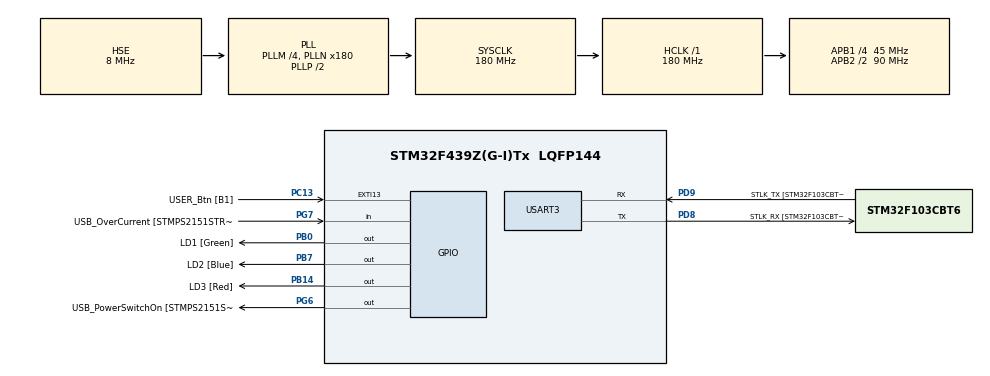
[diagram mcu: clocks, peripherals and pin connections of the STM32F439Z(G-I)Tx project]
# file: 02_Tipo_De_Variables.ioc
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Mcu.Family=STM32F4
Mcu.Name=STM32F439Z(G-I)Tx
Mcu.Package=LQFP144
NVIC.PriorityGroup=NVIC_PRIORITYGROUP_4
PA13.GPIO_Label=TMS
PA13.Mode=Serial_Wire
PA13.Signal=SYS_JTMS-SWDIO
PA14.GPIO_Label=TCK
PA14.Mode=Serial_Wire
PA14.Signal=SYS_JTCK-SWCLK
PB0.GPIO_Label=LD1 [Green]
PB0.Signal=GPIO_Output
PB14.GPIO_Label=LD3 [Red]
PB14.Signal=GPIO_Output
PB7.GPIO_Label=LD2 [Blue]
PB7.Signal=GPIO_Output
PC13.GPIO_Label=USER_Btn [B1]
PC13.Signal=GPXTI13
PC14/OSC32_IN.Mode=LSE-External-Oscillator
PC14/OSC32_IN.Signal=RCC_OSC32_IN
PC15/OSC32_OUT.Mode=LSE-External-Oscillator
PC15/OSC32_OUT.Signal=RCC_OSC32_OUT
PD8.GPIO_Label=STLK_RX [STM32F103CBT6_PA3]
PD8.Mode=Asynchronous
PD8.Signal=USART3_TX
PD9.GPIO_Label=STLK_TX [STM32F103CBT6_PA2]
PD9.Mode=Asynchronous
PD9.Signal=USART3_RX
PG6.GPIO_Label=USB_PowerSwitchOn [STMPS2151STR_EN]
PG6.Signal=GPIO_Output
PG7.GPIO_Label=USB_OverCurrent [STMPS2151STR_FAULT]
PG7.Signal=GPIO_Input
PH0/OSC_IN.GPIO_Label=MCO [STM32F103CBT6_PA8]
PH0/OSC_IN.Mode=HSE-External-Oscillator
PH0/OSC_IN.Signal=RCC_OSC_IN
PH1/OSC_OUT.Mode=HSE-External-Oscillator
PH1/OSC_OUT.Signal=RCC_OSC_OUT
ProjectManager.HeapSize=0x200
ProjectManager.StackSize=0x400
ProjectManager.TargetToolchain=STM32CubeIDE
RCC.48MHZClocksFreq_Value=51428571.428571425
RCC.AHBFreq_Value=180000000
RCC.APB1CLKDivider=RCC_HCLK_DIV4
RCC.APB1Freq_Value=45000000
RCC.APB1TimFreq_Value=90000000
RCC.APB2CLKDivider=RCC_HCLK_DIV2
RCC.APB2Freq_Value=90000000
RCC.APB2TimFreq_Value=180000000
RCC.CortexFreq_Value=180000000
RCC.HCLKFreq_Value=180000000
RCC.HSE_VALUE=8000000
RCC.HSI_VALUE=16000000
RCC.PLLM=4
RCC.PLLMUL=RCC_PLL_MUL9
RCC.PLLN=180
RCC.PLLQ=7
RCC.PLLSourceVirtual=RCC_PLLSOURCE_HSE
RCC.PRESCALERUSB=RCC_USBCLKSOURCE_PLL_DIV1_5
RCC.SYSCLKFreq_VALUE=180000000
RCC.SYSCLKSource=RCC_SYSCLKSOURCE_PLLCLK
RCC.SYSCLKSourceVirtual=RCC_SYSCLKSOURCE_PLLCLK
RCC.USBFreq_Value=48000000
RCC.VCOOutputFreq_Value=360000000
USART3.VirtualMode=VM_ASYNC
board=NUCLEO-F439ZI

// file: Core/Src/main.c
/* USER CODE BEGIN Header */
/**
  ******************************************************************************
  * @file           : main.c
  * @brief          : Main program body
  ******************************************************************************
  * @attention
  *
  * Copyright (c) 2026 STMicroelectronics.
  * All rights reserved.
  *
  * This software is licensed under terms that can be found in the LICENSE file
  * in the root directory of this software component.
  * If no LICENSE file comes with this software, it is provided AS-IS.
  *
  ******************************************************************************
  */
/* USER CODE END Header */
#include "main.h"

/* USER CODE BEGIN Includes */
#include <stdio.h>	//manejo de sprintf
#include <string.h>	//Manejo de cadena de caracteres
/* USER CODE END Includes */

UART_HandleTypeDef huart3;

/* USER CODE BEGIN PV */

/* Variables Globales */

// Usamos volatile para demostrar que esta variable puede cambiar fuera del flujo normal
volatile uint8_t flag_sistema = 1;

/* USER CODE END PV */

void SystemClock_Config(void);
static void MX_GPIO_Init(void);
static void MX_USART3_UART_Init(void);
/* USER CODE BEGIN PFP */

/* Prototipos de funciones */
void Debug_Log(const char *msg);

/* USER CODE END PFP */

/* USER CODE BEGIN 0 */

/* --- Definición de Funciones Propias --- */

/**
 * @brief Envía una cadena de texto a través de la UART3 hacia la PC.
 */
void Debug_Log(const char *msg) {
    HAL_UART_Transmit(&huart3, (uint8_t*)msg, strlen(msg), 100);
}

/* USER CODE END 0 */

int main(void)
{

  /* MCU Configuration--------------------------------------------------------*/

  /* Reset of all peripherals, Initializes the Flash interface and the Systick. */
  HAL_Init();

  /* Configure the system clock */
  SystemClock_Config();

  /* Initialize all configured peripherals */
  MX_GPIO_Init();
  MX_USART3_UART_Init();
  /* USER CODE BEGIN 2 */

  /* --- SECCIÓN 1: Reporte de Tamaños (sizeof) --- */
    char buffer[128];
    Debug_Log("\r\n--- NOTAS SOBRE STM32: REPORTE DE MEMORIA ---\r\n");

    sprintf(buffer, "Tamano uint8_t  : %u byte\r\n",  sizeof(uint8_t));  Debug_Log(buffer);
    sprintf(buffer, "Tamano uint16_t : %u bytes\r\n", sizeof(uint16_t)); Debug_Log(buffer);
    sprintf(buffer, "Tamano uint32_t : %u bytes\r\n", sizeof(uint32_t)); Debug_Log(buffer);
    sprintf(buffer, "Tamano float    : %u bytes\r\n", sizeof(float));    Debug_Log(buffer);
    sprintf(buffer, "Tamano double   : %u bytes\r\n", sizeof(double));   Debug_Log(buffer);
    Debug_Log("---------------------------------------------\r\n\r\n");

    /* Variables para demostración de Overflow */
    uint8_t  contador8 = 250;
    uint16_t contador16 = 65530;

  /* USER CODE END 2 */

  /* Infinite loop */
  while (1)
  {

    /* USER CODE BEGIN 3 */

	  // Simulamos incrementos
	      contador8++;
	      contador16++;

	      // Formateamos el mensaje para ver el Overflow en acción
	      // Cuando contador8 pase de 255, volverá a 0 automáticamente
	      sprintf(buffer, "[LOG] Cont8: %u | Cont16: %u | Tiempo: %lu ms\r\n",
	              contador8, contador16, HAL_GetTick());

	      Debug_Log(buffer);

	      // Feedback visual en la placa (LED Azul)
	      HAL_GPIO_TogglePin(GPIOB, LD2_Pin);

	      HAL_Delay(500); // Pausa de medio segundo
  }
  /* USER CODE END 3 */
}

void SystemClock_Config(void)
{
  RCC_OscInitTypeDef RCC_OscInitStruct = {0};
  RCC_ClkInitTypeDef RCC_ClkInitStruct = {0};

  /** Configure the main internal regulator output voltage
  */
  __HAL_RCC_PWR_CLK_ENABLE();
  __HAL_PWR_VOLTAGESCALING_CONFIG(PWR_REGULATOR_VOLTAGE_SCALE1);

  /** Initializes the RCC Oscillators according to the specified parameters
  * in the RCC_OscInitTypeDef structure.
  */
  RCC_OscInitStruct.OscillatorType = RCC_OSCILLATORTYPE_HSE;
  RCC_OscInitStruct.HSEState = RCC_HSE_ON;
  RCC_OscInitStruct.PLL.PLLState = RCC_PLL_ON;
  RCC_OscInitStruct.PLL.PLLSource = RCC_PLLSOURCE_HSE;
  RCC_OscInitStruct.PLL.PLLM = 4;
  RCC_OscInitStruct.PLL.PLLN = 180;
  RCC_OscInitStruct.PLL.PLLP = RCC_PLLP_DIV2;
  RCC_OscInitStruct.PLL.PLLQ = 7;
  if (HAL_RCC_OscConfig(&RCC_OscInitStruct) != HAL_OK)
  {
    Error_Handler();
  }

  /** Activate the Over-Drive mode
  */
  if (HAL_PWREx_EnableOverDrive() != HAL_OK)
  {
    Error_Handler();
  }

  /** Initializes the CPU, AHB and APB buses clocks
  */
  RCC_ClkInitStruct.ClockType = RCC_CLOCKTYPE_HCLK|RCC_CLOCKTYPE_SYSCLK
                              |RCC_CLOCKTYPE_PCLK1|RCC_CLOCKTYPE_PCLK2;
  RCC_ClkInitStruct.SYSCLKSource = RCC_SYSCLKSOURCE_PLLCLK;
  RCC_ClkInitStruct.AHBCLKDivider = RCC_SYSCLK_DIV1;
  RCC_ClkInitStruct.APB1CLKDivider = RCC_HCLK_DIV4;
  RCC_ClkInitStruct.APB2CLKDivider = RCC_HCLK_DIV2;

  if (HAL_RCC_ClockConfig(&RCC_ClkInitStruct, FLASH_LATENCY_5) != HAL_OK)
  {
    Error_Handler();
  }
}

static void MX_USART3_UART_Init(void)
{

  huart3.Instance = USART3;
  huart3.Init.BaudRate = 115200;
  huart3.Init.WordLength = UART_WORDLENGTH_8B;
  huart3.Init.StopBits = UART_STOPBITS_1;
  huart3.Init.Parity = UART_PARITY_NONE;
  huart3.Init.Mode = UART_MODE_TX_RX;
  huart3.Init.HwFlowCtl = UART_HWCONTROL_NONE;
  huart3.Init.OverSampling = UART_OVERSAMPLING_16;
  if (HAL_UART_Init(&huart3) != HAL_OK)
  {
    Error_Handler();
  }

}

static void MX_GPIO_Init(void)
{
  GPIO_InitTypeDef GPIO_InitStruct = {0};

  /* GPIO Ports Clock Enable */
  __HAL_RCC_GPIOC_CLK_ENABLE();
  __HAL_RCC_GPIOH_CLK_ENABLE();
  __HAL_RCC_GPIOB_CLK_ENABLE();
  __HAL_RCC_GPIOD_CLK_ENABLE();
  __HAL_RCC_GPIOG_CLK_ENABLE();
  __HAL_RCC_GPIOA_CLK_ENABLE();

  /*Configure GPIO pin Output Level */
  HAL_GPIO_WritePin(GPIOB, LD1_Pin|LD3_Pin|LD2_Pin, GPIO_PIN_RESET);

  /*Configure GPIO pin Output Level */
  HAL_GPIO_WritePin(USB_PowerSwitchOn_GPIO_Port, USB_PowerSwitchOn_Pin, GPIO_PIN_RESET);

  /*Configure GPIO pin : USER_Btn_Pin */
  GPIO_InitStruct.Pin = USER_Btn_Pin;
  GPIO_InitStruct.Mode = GPIO_MODE_IT_RISING;
  GPIO_InitStruct.Pull = GPIO_NOPULL;
  HAL_GPIO_Init(USER_Btn_GPIO_Port, &GPIO_InitStruct);

  /*Configure GPIO pins : LD1_Pin LD3_Pin LD2_Pin */
  GPIO_InitStruct.Pin = LD1_Pin|LD3_Pin|LD2_Pin;
  GPIO_InitStruct.Mode = GPIO_MODE_OUTPUT_PP;
  GPIO_InitStruct.Pull = GPIO_NOPULL;
  GPIO_InitStruct.Speed = GPIO_SPEED_FREQ_LOW;
  HAL_GPIO_Init(GPIOB, &GPIO_InitStruct);

  /*Configure GPIO pin : USB_PowerSwitchOn_Pin */
  GPIO_InitStruct.Pin = USB_PowerSwitchOn_Pin;
  GPIO_InitStruct.Mode = GPIO_MODE_OUTPUT_PP;
  GPIO_InitStruct.Pull = GPIO_NOPULL;
  GPIO_InitStruct.Speed = GPIO_SPEED_FREQ_LOW;
  HAL_GPIO_Init(USB_PowerSwitchOn_GPIO_Port, &GPIO_InitStruct);

  /*Configure GPIO pin : USB_OverCurrent_Pin */
  GPIO_InitStruct.Pin = USB_OverCurrent_Pin;
  GPIO_InitStruct.Mode = GPIO_MODE_INPUT;
  GPIO_InitStruct.Pull = GPIO_NOPULL;
  HAL_GPIO_Init(USB_OverCurrent_GPIO_Port, &GPIO_InitStruct);

}

void Error_Handler(void)
{
  __disable_irq();
  while (1)
  {
  }
}
